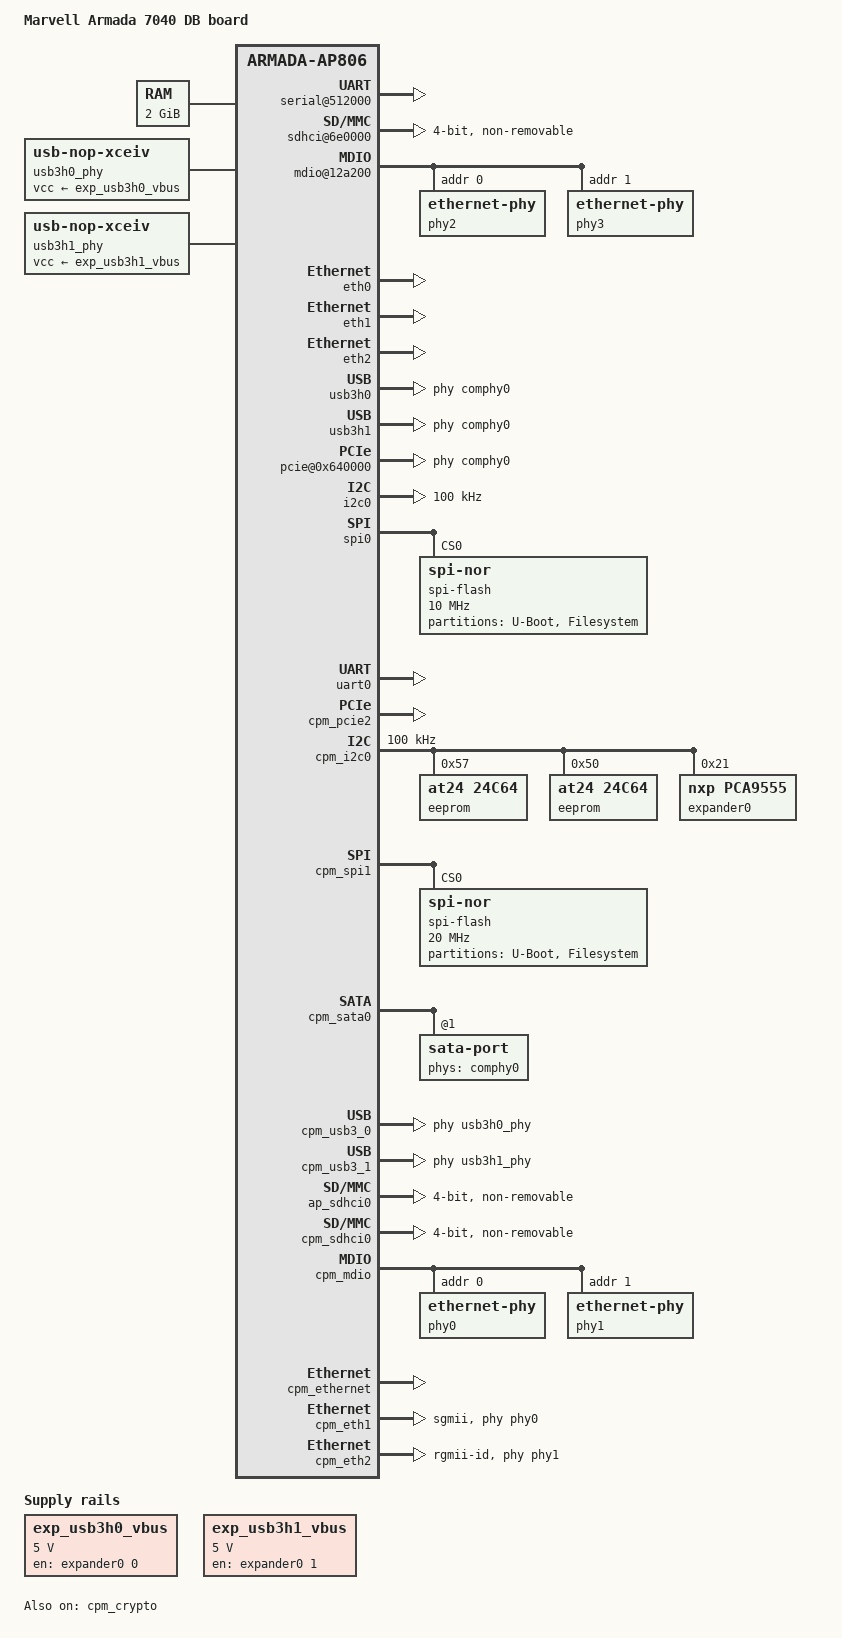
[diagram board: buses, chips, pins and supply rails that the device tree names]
/*
 * Copyright (C) 2016 Marvell Technology Group Ltd.
 *
 * This file is dual-licensed: you can use it either under the terms
 * of the GPLv2 or the X11 license, at your option. Note that this dual
 * licensing only applies to this file, and not this project as a
 * whole.
 *
 *  a) This library is free software; you can redistribute it and/or
 *     modify it under the terms of the GNU General Public License as
 *     published by the Free Software Foundation; either version 2 of the
 *     License, or (at your option) any later version.
 *
 *     This library is distributed in the hope that it will be useful,
 *     but WITHOUT ANY WARRANTY; without even the implied warranty of
 *     MERCHANTABILITY or FITNESS FOR A PARTICULAR PURPOSE.  See the
 *     GNU General Public License for more details.
 *
 * Or, alternatively,
 *
 *  b) Permission is hereby granted, free of charge, to any person
 *     obtaining a copy of this software and associated documentation
 *     files (the "Software"), to deal in the Software without
 *     restriction, including without limitation the rights to use,
 *     copy, modify, merge, publish, distribute, sublicense, and/or
 *     sell copies of the Software, and to permit persons to whom the
 *     Software is furnished to do so, subject to the following
 *     conditions:
 *
 *     The above copyright notice and this permission notice shall be
 *     included in all copies or substantial portions of the Software.
 *
 *     THE SOFTWARE IS PROVIDED "AS IS", WITHOUT WARRANTY OF ANY KIND,
 *     EXPRESS OR IMPLIED, INCLUDING BUT NOT LIMITED TO THE WARRANTIES
 *     OF MERCHANTABILITY, FITNESS FOR A PARTICULAR PURPOSE AND
 *     NONINFRINGEMENT. IN NO EVENT SHALL THE AUTHORS OR COPYRIGHT
 *     HOLDERS BE LIABLE FOR ANY CLAIM, DAMAGES OR OTHER LIABILITY,
 *     WHETHER IN AN ACTION OF CONTRACT, TORT OR OTHERWISE, ARISING
 *     FROM, OUT OF OR IN CONNECTION WITH THE SOFTWARE OR THE USE OR
 *     OTHER DEALINGS IN THE SOFTWARE.
 */

/*
 * Device Tree file for Marvell Armada 7040 Development board platform
 */

#include "armada-7040.dtsi"

/ {
	model = "Marvell Armada 7040 DB board";
	compatible = "marvell,armada7040-db", "marvell,armada7040",
		     "marvell,armada-ap806-quad", "marvell,armada-ap806";

	chosen {
		stdout-path = "serial0:115200n8";
	};

	memory@00000000 {
		device_type = "memory";
		reg = <0x0 0x0 0x0 0x80000000>;
	};

	ap806 {
		config-space@f0000000 {
			serial@512000 {
				status = "okay";
			};
			i2c@511000 {
				status = "disabled";
				clock-frequency = <100000>;
			};
			sd_mmc_reg0: regulator@0 {
				gpios = <&gpio0 11 GPIO_ACTIVE_HIGH>;
				gpios-states = <0>;
				states = <1800000 0x1
					3300000 0x0>;
				enable-active-high;
				status = "disabled";
			};
			sdhci@6e0000 {
				status = "okay";
				bus-width = <4>;
				no-1-8-v;
				non-removable; /* For now, need to configure the GPIO for card detect */
			};
		};
	};

	cp110-master {
		config-space@f2000000 {
			serial@702000 {
				status = "disabled";
			};
			serial@702100 {
				status = "disabled";
			};
			serial@702200 {
				status = "disabled";
			};
			serial@702300 {
				status = "disabled";
			};
			u3d@520000 {
				status = "disabled";
			};
			udc@524100 {
				status = "disabled";
			};
			mdio@12a200 {
				#address-cells = <1>;
				#size-cells = <0>;
				phy2: ethernet-phy@2 {
					reg = <0>;
				};
				phy3: ethernet-phy@3 {
					reg = <1>;
				};
			};
			gop {
				emac0: mac0 {
					phy-mode = "sfi"; /* lane-2 */
					phys = <&comphy0 2 COMPHY_SFI>;
					phy-names = "comphy";
				};
				emac2: mac2 {
					phy-mode = "sgmii"; /* lane-0 */
					phy = <&phy2>;
					phys = <&comphy0 0 COMPHY_SGMII1>;
					phy-names = "comphy";
				};
				emac3: mac3 {
					phy-mode = "rgmii"; /* rgmii-1 */
					phy = <&phy3>;
				};
			};
			ppv22@000000 {
				l4_chksum_jumbo_port = <0>;
				eth0: eth0@010000 {
					status = "okay";
				};
				eth1: eth1@020000 {
					status = "okay";
				};
				eth2: eth2@030000 {
					status = "okay";
				};
			};
			comphy {
				status = "okay";
			};

			nand@720000 {
				nand-ecc-strength = <4>;
				nand-ecc-step-size = <512>;
				status = "disabled";
				partition@0 {
					label = "U-Boot";
					reg = <0 0x200000>;
				};
				partition@200000 {
					label = "Linux";
					reg = <0x200000 0xd00000>;
				};
				partition@1000000 {
					label = "Filesystem";
					reg = <0x1000000 0x3f000000>;
				};
			};

			usb3h0: usb3@500000 {
				separated-phys-for-usb2-usb3;
				phys = <&comphy0 1 COMPHY_USB3H0>;
				phy-names = "usb3";
				status = "okay";
			};
			usb3h1: usb3@510000 {
				separated-phys-for-usb2-usb3;
				phys = <&comphy0 4 COMPHY_USB3H1>;
				phy-names = "usb3";
				status = "okay";
			};
		};

		pcie@0x640000 {
			status = "okay";
			phys = <&comphy0 5 COMPHY_PCIE2>;
			phy-names = "pcie-phy0";
		};
	};

	usb3h0_phy: usb3-h0-phy {
		compatible = "usb-nop-xceiv";
		/* vcc-supply can be changed by io-expander or GPIO,
		 * for A7040-DB we are using by default io-expander
		 * for other board GPIO may be needed, should update
		 * the phandle to gpio regulator
		 */
		vcc-supply = <&exp_usb3h0_vbus>;
	};
	usb3h1_phy: usb3-h1-phy {
		compatible = "usb-nop-xceiv";
		vcc-supply = <&exp_usb3h1_vbus>;
	};
	exp_usb3h0_vbus: usb3-0-vbus {
		compatible = "regulator-fixed";
		regulator-name = "usb3-0-vbus";
		regulator-min-microvolt = <5000000>;
		regulator-max-microvolt = <5000000>;
		enable-active-high;
		regulator-always-on;
		gpio = <&expander0 0 GPIO_ACTIVE_HIGH>;
	};
	exp_usb3h1_vbus: usb3-1-vbus {
		compatible = "regulator-fixed";
		regulator-name = "usb3-1-vbus";
		regulator-min-microvolt = <5000000>;
		regulator-max-microvolt = <5000000>;
		enable-active-high;
		regulator-always-on;
		gpio = <&expander0 1 GPIO_ACTIVE_HIGH>;
	};
	/* following GPIO entry is not used (for reference only)
	 * GPIO is not connected in default A7040-DB board
	 */
	gpio_usb3_vbus: usb3-gpio-vbus {
		compatible = "regulator-fixed";
		pinctrl-names = "default";
		pinctrl-0 = <&xhci0_vbus_pins>;
		regulator-name = "xhci0-vbus";
		regulator-min-microvolt = <5000000>;
		regulator-max-microvolt = <5000000>;
		enable-active-high;
		gpio = <&cpm_gpio0 12 GPIO_ACTIVE_HIGH>;
		status = "disabled";
	};
};

&i2c0 {
	status = "okay";
	clock-frequency = <100000>;
};

&spi0 {
	status = "okay";

	spi-flash@0 {
		#address-cells = <1>;
		#size-cells = <1>;
		compatible = "jedec,spi-nor";
		reg = <0>;
		spi-max-frequency = <10000000>;

		partitions {
			compatible = "fixed-partitions";
			#address-cells = <1>;
			#size-cells = <1>;

			partition@0 {
				label = "U-Boot";
				reg = <0 0x200000>;
			};
			partition@400000 {
				label = "Filesystem";
				reg = <0x200000 0xce0000>;
			};
		};
	};
};

&uart0 {
	status = "okay";
};


&cpm_pcie2 {
	status = "okay";
};

&cpm_i2c0 {
	status = "okay";
	clock-frequency = <100000>;
	pinctrl-names = "default";
	pinctrl-0 = <&i2c0_pins>;
	eeprom@57 {
		compatible = "at24,24c64";
		reg = <0x57>;
		pagesize = <32>;
	};
	eeprom@50 {
		compatible = "at24,24c64";
		reg = <0x50>;
		pagesize = <32>;
	};
	expander0: pca9555@21 {
		compatible = "nxp,pca9555";
		pinctrl-names = "default";
		gpio-controller;
		#gpio-cells = <2>;
		reg = <0x21>;
	};
};

&cpm_spi1 {
	status = "okay";

	spi-flash@0 {
		#address-cells = <0x1>;
		#size-cells = <0x1>;
		compatible = "jedec,spi-nor";
		reg = <0x0>;
		spi-max-frequency = <20000000>;

		partitions {
			compatible = "fixed-partitions";
			#address-cells = <1>;
			#size-cells = <1>;

			partition@0 {
				label = "U-Boot";
				reg = <0x0 0x200000>;
			};

			partition@400000 {
				label = "Filesystem";
				reg = <0x200000 0xe00000>;
			};
		};
	};
};

&cpm_sata0 {
	status = "okay";

	sata-port@0 {
		status = "disabled";
	};
	sata-port@1 {
		phys = <&comphy0 3 COMPHY_SATA1>;
		phy-names = "comphy";
		status = "okay";
	};
};

&cpm_usb3_0 {
	status = "okay";
	usb-phy = <&usb3h0_phy>;
};

&cpm_usb3_1 {
	status = "okay";
	usb-phy = <&usb3h1_phy>;
};

&ap_sdhci0 {
	status = "okay";
	bus-width = <4>;
	no-1-8-v;
	non-removable;
};

&cpm_sdhci0 {
	status = "okay";
	bus-width = <4>;
	no-1-8-v;
	non-removable;
	pinctrl-names = "default";
};

&cpm_mdio {
	phy0: ethernet-phy@0 {
		reg = <0>;
	};
	phy1: ethernet-phy@1 {
		reg = <1>;
	};
};

&cpm_ethernet {
	status = "okay";
};

&cpm_eth1 {
	status = "okay";
	phy = <&phy0>;
	phy-mode = "sgmii";
};

&cpm_eth2 {
	status = "okay";
	phy = <&phy1>;
	phy-mode = "rgmii-id";
};

&cpm_crypto {
	status = "okay";
};
